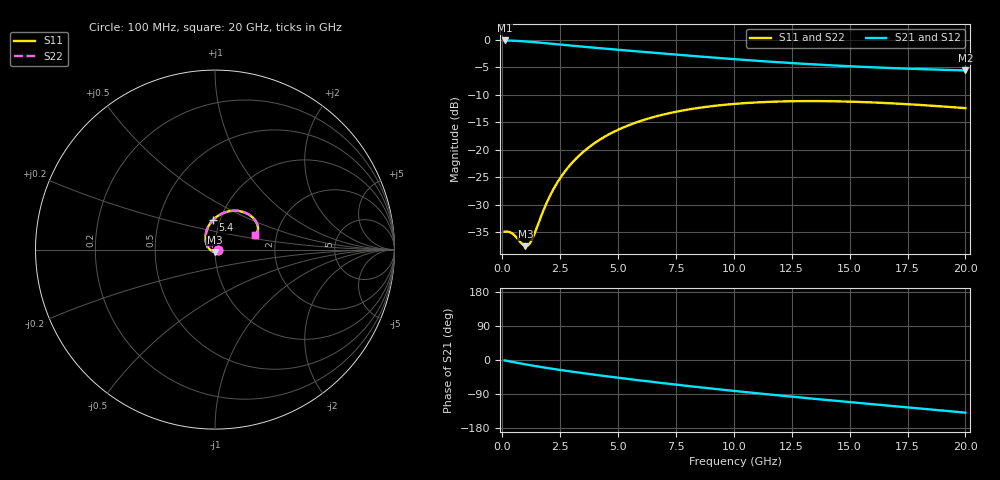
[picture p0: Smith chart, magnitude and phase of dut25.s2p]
! Created with skrf 1.9.0 (http://scikit-rf.org).
# GHz S RI R 50.0
!freq ReS11 ImS11 ReS21 ImS21 ReS12 ImS12 ReS22 ImS22
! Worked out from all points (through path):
!   200 points, 100 MHz to 20 GHz, reference 50 ohm
!   highest |S21| = -0.16 dB at 100 MHz (marker M1); lowest = -5.6 dB at 20 GHz (marker M2)
!   group delay of S21, straight-line fit = 18.4 ps
!   lowest |S11| = -37.5 dB at 1 GHz (marker M3), VSWR 1.03, Z = 49.9 - j1.33 ohm
!   |S11| at or under -10 dB: start of sweep to end of sweep
!   |S22| runs from -37.5 to -11.2 dB; largest |S21 - S12| = 2e-15
!   S11 on the Smith chart (normalised r, x): 100 MHz: 1.04, -0.01; 5.4 GHz: 0.93, +0.31; 20 GHz: 1.55, +0.27
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0.1  0.0179 -0.0025  0.9815 -0.0199  0.9815 -0.0199  0.0179 -0.0025
0.4  0.0154 -0.00853  0.9744 -0.0798  0.9744 -0.0798  0.0154 -0.00853
0.9  0.00285 -0.0134  0.9492 -0.1741  0.9492 -0.1741  0.00285 -0.0134
1  -0.000495 -0.0134  0.9424 -0.1917  0.9424 -0.1917  -0.000495 -0.0134
1.1  -0.004 -0.0129  0.9352 -0.2087  0.9352 -0.2087  -0.004 -0.0129
1.2  -0.00761 -0.012  0.9276 -0.2253  0.9276 -0.2253  -0.00761 -0.012
1.3  -0.0113 -0.0108  0.9196 -0.2415  0.9196 -0.2415  -0.0113 -0.0108
1.9  -0.0321 0.00447  0.866 -0.328  0.866 -0.328  -0.0321 0.00447
2.1  -0.0379 0.012  0.8468 -0.3532  0.8468 -0.3532  -0.0379 0.012
2.4  -0.0449 0.025  0.8173 -0.3882  0.8173 -0.3882  -0.0449 0.025
2.9  -0.0518 0.0495  0.7672 -0.4398  0.7672 -0.4398  -0.0518 0.0495
3.5  -0.0522 0.0805  0.7063 -0.4923  0.7063 -0.4923  -0.0522 0.0805
3.9  -0.0482 0.1008  0.6655 -0.5226  0.6655 -0.5226  -0.0482 0.1008
4.4  -0.0392 0.1247  0.6145 -0.5557  0.6145 -0.5557  -0.0392 0.1247
5.4  -0.0112 0.1648  0.5128 -0.6074  0.5128 -0.6074  -0.0112 0.1648
6.8  0.04 0.2012  0.3745 -0.6512  0.3745 -0.6512  0.04 0.2012
8.3  0.0972 0.2161  0.2364 -0.6674  0.2364 -0.6674  0.0972 0.2161
10.1  0.1566 0.2096  0.0899 -0.656  0.0899 -0.656  0.1566 0.2096
11.7  0.1959 0.1903  -0.0221 -0.6268  -0.0221 -0.6268  0.1959 0.1903
13.4  0.2232 0.1635  -0.1239 -0.5832  -0.1239 -0.5832  0.2232 0.1635
16.7  0.2397 0.1126  -0.2811 -0.4756  -0.2811 -0.4756  0.2397 0.1126
20  0.2244 0.0815  -0.3958 -0.3452  -0.3958 -0.3452  0.2244 0.0815
